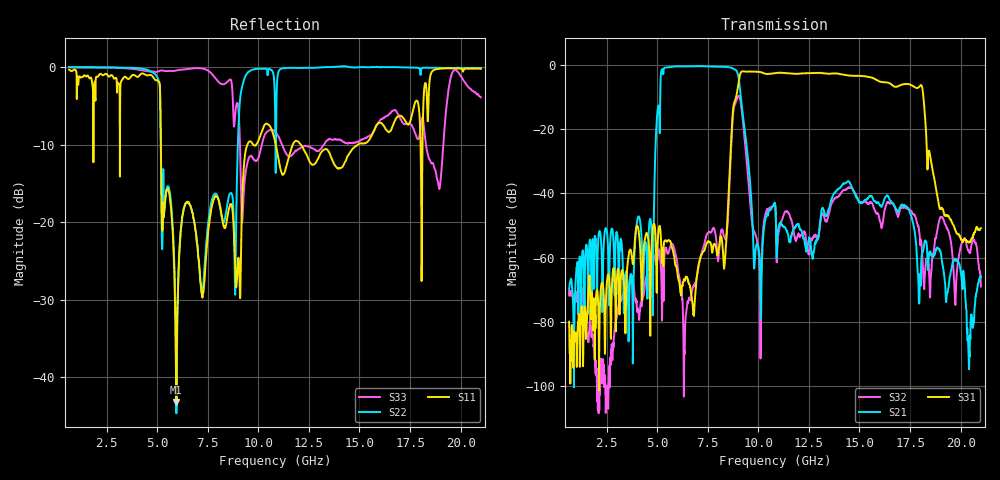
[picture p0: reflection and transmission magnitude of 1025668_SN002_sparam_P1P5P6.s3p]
!Keysight Technologies,N5227B,US58420583,A.13.95.07
!Date: Wednesday, April 06, 2022 14:53:56
!Correction: S11(Full 3 Port(1,2,3))
!S12(Full 3 Port(1,2,3))
!S13(Full 3 Port(1,2,3))
!S21(Full 3 Port(1,2,3))
!S22(Full 3 Port(1,2,3))
!S23(Full 3 Port(1,2,3))
!S31(Full 3 Port(1,2,3))
!S32(Full 3 Port(1,2,3))
!S33(Full 3 Port(1,2,3))
!S3P File: Measurements: <S11,S12,S13>,
!<S21,S22,S23>,
!<S31,S32,S33>:
# Hz S  dB  R 50
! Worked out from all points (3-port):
!   2036 points, 650 MHz to 21 GHz, reference 50 ohm
!   strongest paths, dB at 650 MHz, 5.74 GHz, 10.83 GHz, 15.92 GHz, 21 GHz:
!     S31: -80.0, -57.0, -2.6, -5.0, -50.8
!     S21: -69.8, -0.6, -43.2, -42.8, -65.9
!     S32: -70.3, -55.9, -43.8, -46.5, -69.0
!   lowest |S11| = -43.2 dB at 5.95 GHz (marker M1), VSWR 1.01, Z = 50.7 + j0.14 ohm
!   |S11| at or under -10 dB: 5.183 GHz to 9.461 GHz (4.277 GHz wide, 58.4 % of centre); 10.86 GHz to 11.71 GHz (843.1 MHz wide, 7.47 % of centre); 12.1 GHz to 14.93 GHz (2.826 GHz wide, 20.9 % of centre)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
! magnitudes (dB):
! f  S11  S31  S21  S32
! 650 MHz  -0.4  -80.0  -69.8  -70.3
! 3.71 GHz  -1.2  -58.0  -65.2  -65.9
! 5.95 GHz  -43.2  -62.7  -0.5  -59.9
! 8.33 GHz  -20.8  -62.5  -0.6  -53.6
! 9.01 GHz  -24.6  -6.0  -3.5  -9.8
! 9.83 GHz  -10.2  -2.1  -60.3  -52.4
! 10.83 GHz  -9.6  -2.6  -43.2  -43.8
! 18.02 GHz  -10.0  -6.4  -68.3  -55.7
! 18.97 GHz  -0.2  -44.7  -57.7  -47.8
! 21 GHz  -0.2  -50.8  -65.9  -69.0
